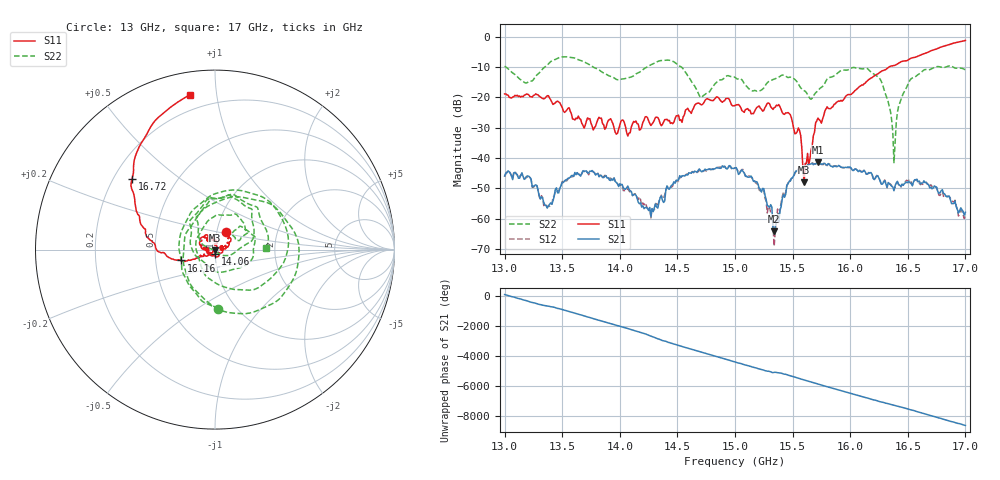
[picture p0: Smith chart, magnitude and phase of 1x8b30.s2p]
!Keysight Technologies,P9374A,MY57211807,A.19.30.04
!Date: Friday, May 08, 2026 14:26:43
!Correction: S11(C  2-Port  )
!S21(C  2-Port  )
!S12(C  2-Port  )
!S22(C  2-Port  )
!S2P File: Measurements: S11, S21, S12, S22:
# Hz S  dB  R 50
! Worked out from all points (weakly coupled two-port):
!   401 points, 13 GHz to 17 GHz, reference 50 ohm
!   highest |S21| = -41.45 dB at 15.72 GHz (marker M1); lowest = -64.2 dB at 15.34 GHz (marker M2)
!   lowest |S11| = -48.0 dB at 15.6 GHz (marker M3), VSWR 1.01, Z = 50.1 - j0.372 ohm
!   |S11| at or under -10 dB: start of sweep to 16.34 GHz
!   |S22| runs from -41.5 to -6.6 dB; largest |S21 - S12| = 0.00061
!   S11 on the Smith chart (normalised r, x): 13 GHz: 1.10, +0.22; 14.06 GHz: 1.00, -0.05; 16.16 GHz: 0.68, -0.09; 16.72 GHz: 0.28, +0.34; 17 GHz: 0.12, +0.84
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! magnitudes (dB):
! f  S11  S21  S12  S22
! 13 GHz  -18.8  -45.9  -46.2  -9.7
! 13.19 GHz  -18.8  -46.1  -46.3  -15.2
! 13.39 GHz  -20.2  -55.3  -56.0  -8.5
! 13.67 GHz  -28.5  -45.1  -45.2  -7.9
! 14.06 GHz  -31.7  -49.8  -50.5  -13.6
! 14.26 GHz  -28.6  -56.3  -56.7  -9.4
! 14.34 GHz  -27.4  -54.7  -54.2  -8.0
! 14.53 GHz  -27.4  -46.3  -46.4  -9.8
! 14.71 GHz  -22.5  -44.6  -44.6  -19.9
! 15 GHz  -22.7  -43.3  -43.2  -13.4
! 15.24 GHz  -24.6  -50.0  -50.2  -17.2
! 15.34 GHz  -23.4  -64.2  -69.1  -13.9
! 15.55 GHz  -30.1  -43.6  -44.0  -15.5
! 15.6 GHz  -48.0  -43.0  -43.0  -17.7
! 15.67 GHz  -36.0  -41.9  -41.6  -20.3
! 15.72 GHz  -26.8  -41.5  -41.6  -17.7
! 16.16 GHz  -14.1  -44.8  -45.0  -10.8
! 16.34 GHz  -9.9  -48.5  -48.5  -23.0
! 16.38 GHz  -9.4  -50.8  -50.6  -41.5
! 16.51 GHz  -7.4  -47.8  -47.3  -14.9
! 16.72 GHz  -4.3  -49.9  -49.5  -10.2
! 17 GHz  -1.2  -57.9  -58.5  -10.9
